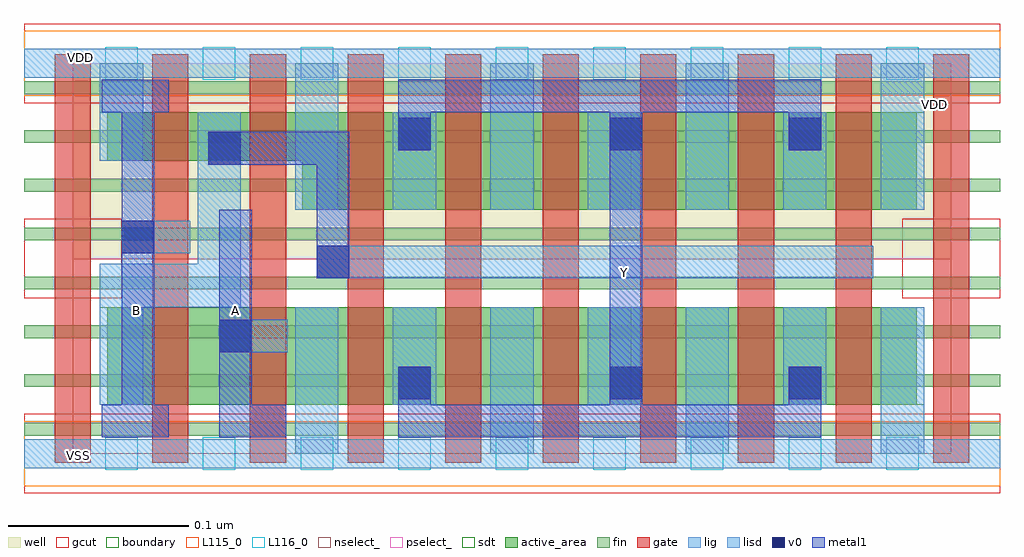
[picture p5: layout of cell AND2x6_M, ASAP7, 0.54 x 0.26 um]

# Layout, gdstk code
import gdstk
lib = gdstk.Library(unit=1e-6, precision=2.5e-10)
def R(c, l, rs):  # rectangles x0, y0, x1, y1
    for r in rs: c.add(gdstk.rectangle(r[:2], r[2:], *l))
def A(c, l, x, y, w, h, nx, ny, dx, dy):  # array of equal rectangles
    R(c, l, [(x+i*dx, y+j*dy, x+i*dx+w, y+j*dy+h) for i in range(nx) for j in range(ny)])
def P(c, l, *ps):  # polygons
    for p in ps: c.add(gdstk.Polygon(p, *l))
well = (1, 0)
fin = (2, 0)
gate = (7, 0)
gcut = (10, 0)
active_area = (11, 0)
nselect_ = (12, 0)
pselect_ = (13, 0)
lig = (16, 0)
lisd = (17, 0)
v0 = (18, 0)
metal1 = (19, 0)
sdt = (88, 0)
boundary = (100, 0)
L115_0 = (115, 0)
L116_0 = (116, 0)

and2x6_m = lib.new_cell('AND2x6_M')
R(and2x6_m, well, [(0,0.108,0.486,0.216)])
A(and2x6_m, fin, -0.027, 0.01, 0.54, 0.007, 1, 8, 0, 0.027)
A(and2x6_m, gate, -0.01, -0.005, 0.02, 0.226, 10, 1, 0.054, 0)
R(and2x6_m, gcut, [(-0.027,-0.022,0.513,0.022), (-0.027,0.086,0.027,0.13), (0.459,0.086,0.513,0.13), (-0.027,0.194,0.513,0.238)])
R(and2x6_m, active_area, [(0.019,0.027,0.467,0.081), (0.127,0.135,0.467,0.189), (0.019,0.162,0.127,0.189)])
R(and2x6_m, nselect_, [(0,0,0.486,0.108)])
R(and2x6_m, pselect_, [(0,0.108,0.486,0.216)])
R(and2x6_m, lig, [(-0.027,-0.008,0.513,0.008), (0.081,0.056,0.119,0.074), (0.135,0.097,0.443,0.115), (0.027,0.111,0.065,0.129), (-0.027,0.208,0.513,0.224)])
A(and2x6_m, lisd, 0.123, 0, 0.024, 0.081, 4, 2, 0.108, 0.135)
R(and2x6_m, lisd, [(0.177,0.027,0.201,0.081), (0.285,0.027,0.315,0.081), (0.393,0.027,0.417,0.081), (0.177,0.135,0.201,0.189), (0.285,0.135,0.315,0.189), (0.393,0.135,0.417,0.189), (0.015,0.162,0.039,0.216)])
P(and2x6_m, lisd, [(0.093,0.189),(0.069,0.189),(0.069,0.105),(0.015,0.105),(0.015,0.027),(0.039,0.027),(0.039,0.081),(0.093,0.081)])
R(and2x6_m, v0, [(0.18,0.03,0.198,0.048), (0.297,0.03,0.315,0.048), (0.396,0.03,0.414,0.048), (0.081,0.056,0.099,0.074), (0.135,0.097,0.153,0.115), (0.027,0.111,0.045,0.129), (0.075,0.16,0.093,0.178), (0.18,0.168,0.198,0.186), (0.297,0.168,0.315,0.186), (0.396,0.168,0.414,0.186)])
R(and2x6_m, metal1, [(0.016,0.009,0.053,0.027), (0.027,0.009,0.045,0.207), (0.081,0.009,0.118,0.027), (0.081,0.009,0.099,0.135), (0.18,0.009,0.414,0.027), (0.18,0.009,0.198,0.048), (0.297,0.009,0.315,0.207), (0.396,0.009,0.414,0.048), (0.135,0.097,0.153,0.178), (0.075,0.16,0.153,0.178), (0.18,0.168,0.198,0.207), (0.396,0.168,0.414,0.207), (0.016,0.189,0.053,0.207), (0.18,0.189,0.414,0.207)])
A(and2x6_m, sdt, 0.123, 0.027, 0.024, 0.054, 7, 2, 0.054, 0.108)
R(and2x6_m, sdt, [(0.015,0.027,0.039,0.081), (0.015,0.162,0.039,0.189), (0.069,0.162,0.093,0.189)])
R(and2x6_m, boundary, [(0,0,0.486,0.216)])
R(and2x6_m, L115_0, [(-0.027,-0.018,0.513,0.018), (-0.027,0.198,0.513,0.234)])
A(and2x6_m, L116_0, 0.018, -0.009, 0.018, 0.018, 9, 2, 0.054, 0.216)
and2x6_m.add(gdstk.Label('Y', (0.305,0.1), layer=19, texttype=251))
and2x6_m.add(gdstk.Label('B', (0.035,0.079), layer=19, texttype=251))
and2x6_m.add(gdstk.Label('A', (0.09,0.079), layer=19, texttype=251))
and2x6_m.add(gdstk.Label('VDD', (0.477,0.193), layer=1, texttype=251))
and2x6_m.add(gdstk.Label('VSS', (0.55,0.192), layer=3, texttype=251))
and2x6_m.add(gdstk.Label('VSS', (0.003,-0.001), layer=115, texttype=251))
and2x6_m.add(gdstk.Label('VDD', (0.004,0.219), layer=115, texttype=251))

lib.write_gds('AND2x6_M.gds')
